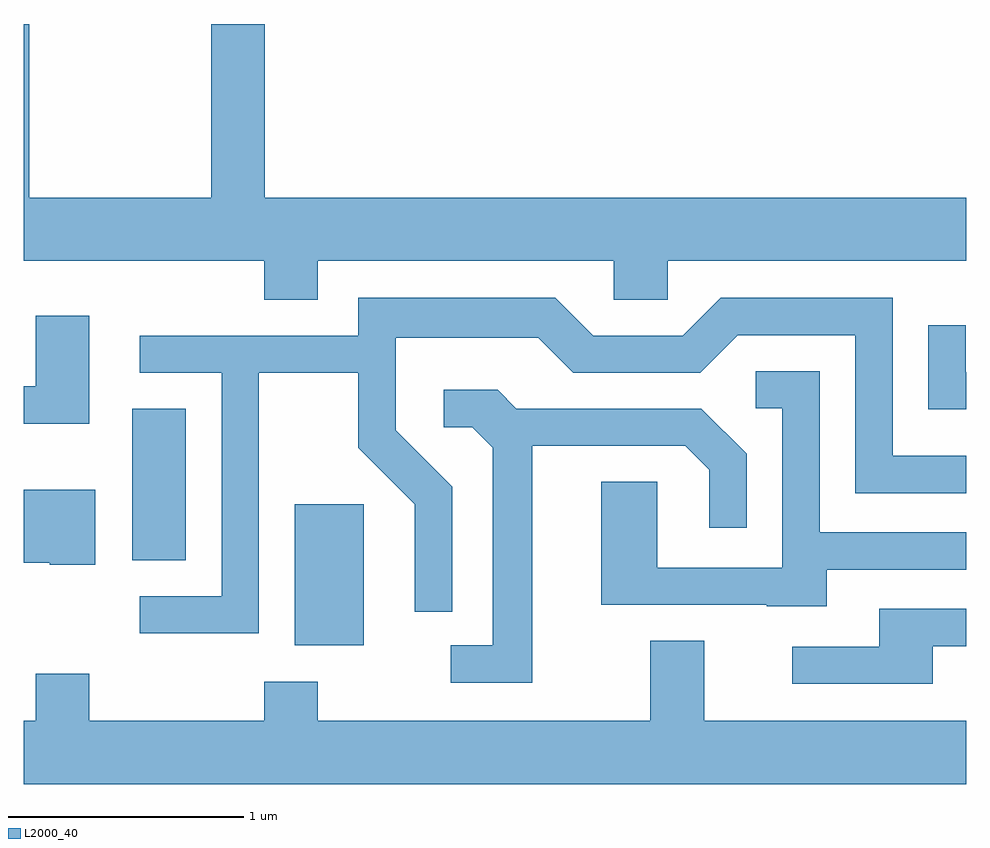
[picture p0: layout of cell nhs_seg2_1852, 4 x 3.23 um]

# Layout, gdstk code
import gdstk
lib = gdstk.Library(unit=1e-6, precision=1e-09)
def R(c, l, rs):  # rectangles x0, y0, x1, y1
    for r in rs: c.add(gdstk.rectangle(r[:2], r[2:], *l))
def P(c, l, *ps):  # polygons
    for p in ps: c.add(gdstk.Polygon(p, *l))
L2000_40 = (2000, 40)

nhs_seg2_1852 = lib.new_cell('nhs_seg2_1852')
R(nhs_seg2_1852, L2000_40, [(240.761,1011.166,241.054,1011.764), (240.071,1011.526,240.299,1012.169)])
P(nhs_seg2_1852, L2000_40, [(240.859,1012.796),(242.116,1012.796),(242.116,1012.631),(242.344,1012.631),(242.344,1012.796),(243.611,1012.796),(243.611,1013.064),(240.634,1013.064),(240.634,1013.802),(240.406,1013.802),(240.406,1013.064),(239.634,1013.064),(239.634,1013.802),(239.611,1013.802),(239.611,1012.796),(240.631,1012.796),(240.631,1012.631),(240.859,1012.631)],
  [(240.609,1012.321),(241.031,1012.321),(241.031,1012.004),(241.271,1011.764),(241.271,1011.308),(241.429,1011.308),(241.429,1011.837),(241.189,1012.077),(241.189,1012.471),(241.794,1012.471),(241.944,1012.321),(242.482,1012.321),(242.642,1012.481),(243.141,1012.481),(243.141,1011.811),(243.611,1011.811),(243.611,1011.969),(243.299,1011.969),(243.299,1012.639),(242.569,1012.639),(242.409,1012.479),(242.027,1012.479),(241.867,1012.639),(241.031,1012.639),(241.031,1012.479),(240.103,1012.479),(240.103,1012.321),(240.451,1012.321),(240.451,1011.374),(240.103,1011.374),(240.103,1011.216),(240.609,1011.216)],
  [(239.889,1012.564),(239.661,1012.564),(239.661,1012.264),(239.611,1012.264),(239.611,1012.106),(239.889,1012.106)],
  [(243.611,1012.324),(243.609,1012.324),(243.609,1012.523),(243.451,1012.523),(243.451,1012.166),(243.611,1012.166)],
  [(243.019,1011.486),(243.611,1011.486),(243.611,1011.644),(242.989,1011.644),(242.989,1012.329),(242.718,1012.329),(242.718,1012.171),(242.831,1012.171),(242.831,1011.494),(242.299,1011.494),(242.299,1011.859),(242.061,1011.859),(242.061,1011.336),(242.765,1011.336),(242.765,1011.331),(243.019,1011.331)],
  [(241.769,1012.011),(242.419,1012.011),(242.521,1011.909),(242.521,1011.663),(242.679,1011.663),(242.679,1011.977),(242.487,1012.169),(241.702,1012.169),(241.622,1012.249),(241.393,1012.249),(241.393,1012.091),(241.514,1012.091),(241.601,1012.004),(241.601,1011.164),(241.423,1011.164),(241.423,1011.006),(241.769,1011.006)],
  [(239.914,1011.824),(239.611,1011.824),(239.611,1011.516),(239.72,1011.516),(239.72,1011.506),(239.914,1011.506)],
  [(243.469,1011.161),(243.611,1011.161),(243.611,1011.319),(243.241,1011.319),(243.241,1011.159),(242.873,1011.159),(242.873,1011.001),(243.469,1011.001)],
  [(243.611,1010.844),(242.499,1010.844),(242.499,1011.184),(242.271,1011.184),(242.271,1010.844),(240.859,1010.844),(240.859,1011.009),(240.631,1011.009),(240.631,1010.844),(239.889,1010.844),(239.889,1011.044),(239.661,1011.044),(239.661,1010.844),(239.611,1010.844),(239.611,1010.576),(243.611,1010.576)])

lib.write_gds('nhs_seg2_1852.gds')
